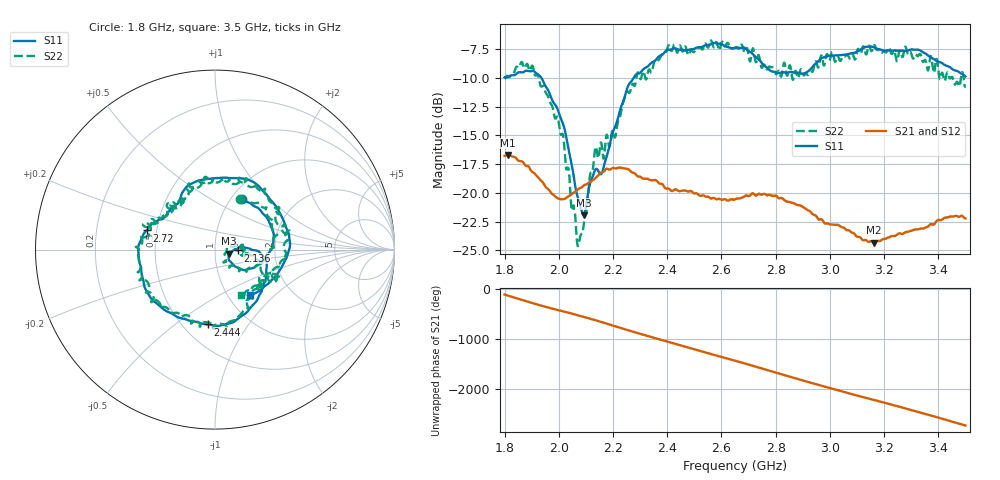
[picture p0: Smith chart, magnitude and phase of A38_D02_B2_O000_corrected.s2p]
! Created with skrf 1.9.0 (http://scikit-rf.org).
# Hz S RI R 50.0
!freq ReS11 ImS11 ReS21 ImS21 ReS12 ImS12 ReS22 ImS22
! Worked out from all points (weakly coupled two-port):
!   1601 points, 1.8 GHz to 3.5 GHz, reference 50 ohm
!   highest |S21| = -16.72 dB at 1.812 GHz (marker M1); lowest = -24.3 dB at 3.162 GHz (marker M2)
!   lowest |S11| = -21.9 dB at 2.092 GHz (marker M3), VSWR 1.17, Z = 58.2 - j2.76 ohm
!   |S11| at or under -10 dB: 1.936 GHz to 2.276 GHz (340.3 MHz wide, 16.2 % of centre)
!   |S22| runs from -24.6 to -6.7 dB; largest |S21 - S12| = 0.0024
!   S11 on the Smith chart (normalised r, x): 1.8 GHz: 1.12, +0.70; 2.136 GHz: 1.29, -0.01; 2.444 GHz: 0.66, -0.67; 2.72 GHz: 0.44, +0.11; 3.5 GHz: 1.26, -0.71
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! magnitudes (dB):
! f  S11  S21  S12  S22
! 1.8 GHz  -9.9  -16.8  -16.8  -10.1
! 1.812 GHz  -9.9  -16.7  -16.7  -9.9
! 1.9 GHz  -9.4  -18.2  -18.1  -9.0
! 1.952 GHz  -10.8  -19.5  -19.5  -11.3
! 2.018 GHz  -14.2  -20.5  -20.6  -15.3
! 2.069 GHz  -20.3  -19.7  -19.8  -24.6
! 2.084 GHz  -21.5  -19.5  -19.5  -23.6
! 2.092 GHz  -21.9  -19.4  -19.4  -22.7
! 2.136 GHz  -18.0  -18.7  -18.7  -16.0
! 2.162 GHz  -18.0  -18.2  -18.1  -16.7
! 2.21 GHz  -14.1  -17.9  -17.8  -15.0
! 2.259 GHz  -10.5  -18.0  -18.0  -11.3
! 2.367 GHz  -8.2  -19.1  -19.1  -8.5
! 2.444 GHz  -7.6  -19.9  -19.9  -7.3
! 2.65 GHz  -7.4  -20.6  -20.5  -7.4
! 2.72 GHz  -8.1  -20.1  -20.0  -7.8
! 2.807 GHz  -9.6  -20.4  -20.4  -9.5
! 2.934 GHz  -9.1  -21.8  -21.8  -9.5
! 3.162 GHz  -7.3  -24.3  -24.3  -7.2
! 3.217 GHz  -7.6  -23.9  -23.8  -7.4
! 3.329 GHz  -7.6  -23.2  -23.1  -8.0
! 3.5 GHz  -9.9  -22.2  -22.2  -10.7
